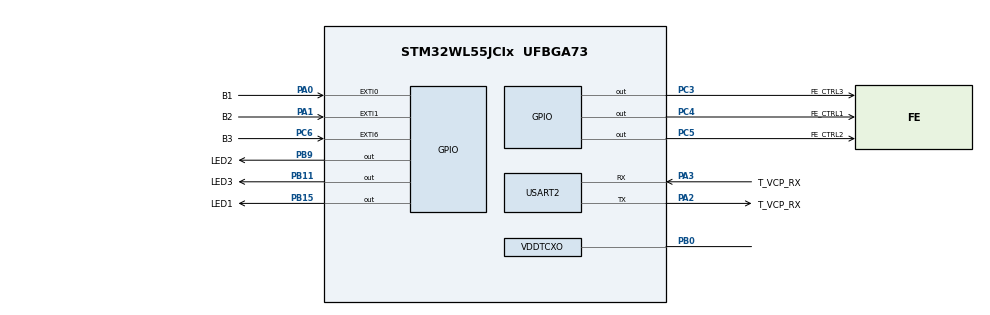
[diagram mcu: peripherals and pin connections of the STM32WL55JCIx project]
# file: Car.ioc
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FREERTOS.Queues01=TransmitQueue,32,uint16_t,0,Dynamic,NULL,NULL
FREERTOS.Tasks01=defaultTask,24,128,StartDefaultTask,Default,NULL,Dynamic,NULL,NULL;TransmitTask,8,128,StartTransmitTask,Default,NULL,Dynamic,NULL,NULL;ReceiveTask,8,128,StartReceiveTask,Default,NULL,Dynamic,NULL,NULL;GetInputTask,8,128,StartGetInputTask,Default,NULL,Dynamic,NULL,NULL
FREERTOS.configUSE_NEWLIB_REENTRANT=1
Mcu.Family=STM32WL
Mcu.Name=STM32WL55JCIx
Mcu.Package=UFBGA73
NVIC.EXTI0_IRQn=true\:5\:0\:false\:false\:true\:true\:true\:true\:true
NVIC.EXTI1_IRQn=true\:5\:0\:false\:false\:true\:true\:true\:true\:true
NVIC.EXTI9_5_IRQn=true\:5\:0\:false\:false\:true\:true\:true\:true\:true
NVIC.PriorityGroup=NVIC_PRIORITYGROUP_4
NVIC.SUBGHZ_Radio_IRQn=true\:5\:0\:false\:false\:true\:true\:true\:true\:true
NVIC.TIM2_IRQn=true\:15\:0\:false\:false\:true\:false\:false\:true\:true
NVIC.TimeBase=TIM2_IRQn
NVIC.TimeBaseIP=TIM2
NVIC.USART2_IRQn=true\:5\:0\:false\:false\:true\:true\:true\:true\:true
OSC_IN.Mode=HSE-TCXO
OSC_IN.Signal=RCC_OSC_IN
PA0.GPIO_Label=B1
PA0.GPIO_ModeDefaultEXTI=GPIO_MODE_IT_RISING
PA0.GPIO_PuPd=GPIO_PULLUP
PA0.Signal=GPXTI0
PA1.GPIO_Label=B2
PA1.GPIO_ModeDefaultEXTI=GPIO_MODE_IT_FALLING
PA1.GPIO_PuPd=GPIO_PULLUP
PA1.Signal=GPXTI1
PA13.Mode=Serial_Wire
PA13.Signal=DEBUG_JTMS-SWDIO
PA14.Mode=Serial_Wire
PA14.Signal=DEBUG_JTCK-SWCLK
PA2.GPIO_Label=T_VCP_RX
PA2.Mode=Asynchronous
PA2.Signal=USART2_TX
PA3.GPIO_Label=T_VCP_RX
PA3.Mode=Asynchronous
PA3.Signal=USART2_RX
PB0-VDD_TCXO.Mode=HSE-TCXO
PB0-VDD_TCXO.Signal=VDDTCXO
PB11.GPIO_Label=LED3
PB11.GPIO_Speed=GPIO_SPEED_FREQ_HIGH
PB11.Signal=GPIO_Output
PB15.GPIO_Label=LED1
PB15.GPIO_Speed=GPIO_SPEED_FREQ_HIGH
PB15.Signal=GPIO_Output
PB9.GPIO_FM9=__NULL
PB9.GPIO_Label=LED2
PB9.GPIO_Speed=GPIO_SPEED_FREQ_HIGH
PB9.Signal=GPIO_Output
PC14-OSC32_IN.Mode=LSE-External-Oscillator
PC14-OSC32_IN.Signal=RCC_OSC32_IN
PC15-OSC32_OUT.Mode=LSE-External-Oscillator
PC15-OSC32_OUT.Signal=RCC_OSC32_OUT
PC3.GPIO_Label=FE_CTRL3
PC3.GPIO_Speed=GPIO_SPEED_FREQ_VERY_HIGH
PC3.Signal=GPIO_Output
PC4.GPIO_Label=FE_CTRL1
PC4.GPIO_Speed=GPIO_SPEED_FREQ_VERY_HIGH
PC4.Signal=GPIO_Output
PC5.GPIO_Label=FE_CTRL2
PC5.GPIO_Speed=GPIO_SPEED_FREQ_VERY_HIGH
PC5.Signal=GPIO_Output
PC6.GPIO_Label=B3
PC6.GPIO_ModeDefaultEXTI=GPIO_MODE_IT_FALLING
PC6.GPIO_PuPd=GPIO_PULLUP
PC6.Signal=GPXTI6
ProjectManager.HeapSize=0x200
ProjectManager.StackSize=0x400
ProjectManager.TargetToolchain=STM32CubeIDE
RCC.AHBFreq_Value=48000000
RCC.APB1Freq_Value=48000000
RCC.APB1TimFreq_Value=48000000
RCC.APB2Freq_Value=48000000
RCC.APB2TimFreq_Value=48000000
RCC.APB3Freq_Value=48000000
RCC.CortexFreq_Value=48000000
RCC.HCLKFreq_Value=48000000
RCC.HSE_VALUE=32000000
RCC.HSI_VALUE=16000000
RCC.LSE_VALUE=32768
RCC.MSIClockRange=RCC_MSIRANGE_11
RCC.SYSCLKFreq_VALUE=48000000
RCC.VCOOutputFreq_Value=384000000
SUBGHZ.BaudratePrescaler=SUBGHZSPI_BAUDRATEPRESCALER_4
SUBGHZ_PHY.IS_TCXO_SUPPORTED=true
SUBGHZ_PHY.USE_LPM=false
SUBGHZ_PHY.USE_RTC=false
SUBGHZ_PHY.USE_UART=false
USART2.VirtualMode-Asynchronous=VM_ASYNC
VP_ADV_TRACE_VS_ADV_TRACE.Mode=ADV_TRACE_Enabled
VP_FREERTOS_VS_CMSIS_V2.Mode=CMSIS_V2
VP_MISC_VS_MISC.Mode=MISC_Enabled
VP_SUBGHZ_PHY_VS_SubGhzPhy.Mode=SubGhzPhy_Enabled
VP_SUBGHZ_VS_SUBGHZ.Mode=SUBGHZ_Activate
VP_SYS_VS_tim2.Mode=TIM2
VP_TIMER_VS_TIMER.Mode=TIMER_Enabled
VP_TINY_LPM_VS_TINY_LPM.Mode=TINY_LPM_Enabled
board=NUCLEO-WL55JC1

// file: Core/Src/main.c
/* USER CODE BEGIN Header */
/**
  ******************************************************************************
  * @file           : main.c
  * @brief          : Main program body
  ******************************************************************************
  * @attention
  *
  * Copyright (c) 2023 STMicroelectronics.
  * All rights reserved.
  *
  * This software is licensed under terms that can be found in the LICENSE file
  * in the root directory of this software component.
  * If no LICENSE file comes with this software, it is provided AS-IS.
  *
  ******************************************************************************
  */
/* USER CODE END Header */
#include "main.h"
#include "cmsis_os.h"
//#include "app_subghz_phy.h"

/* USER CODE BEGIN Includes */
#include "subghz_phy_app.h"
#include "sys_app.h"
/* USER CODE END Includes */

/* USER CODE BEGIN PTD */
#define PUTCHAR_PROTOTYPE int __io_putchar(int ch)
/* USER CODE END PTD */

SUBGHZ_HandleTypeDef hsubghz;

UART_HandleTypeDef huart2;

/* Definitions for defaultTask */
osThreadId_t defaultTaskHandle;
const osThreadAttr_t defaultTask_attributes = {
  .name = "defaultTask",
  .priority = (osPriority_t) osPriorityNormal,
  .stack_size = 128 * 4
};
/* Definitions for TransmitTask */
osThreadId_t TransmitTaskHandle;
const osThreadAttr_t TransmitTask_attributes = {
  .name = "TransmitTask",
  .priority = (osPriority_t) osPriorityLow,
  .stack_size = 128 * 4
};
/* Definitions for ReceiveTask */
osThreadId_t ReceiveTaskHandle;
const osThreadAttr_t ReceiveTask_attributes = {
  .name = "ReceiveTask",
  .priority = (osPriority_t) osPriorityLow,
  .stack_size = 128 * 4
};
/* Definitions for GetInputTask */
osThreadId_t GetInputTaskHandle;
const osThreadAttr_t GetInputTask_attributes = {
  .name = "GetInputTask",
  .priority = (osPriority_t) osPriorityLow,
  .stack_size = 128 * 4
};
/* Definitions for TransmitQueue */
osMessageQueueId_t TransmitQueueHandle;
const osMessageQueueAttr_t TransmitQueue_attributes = {
  .name = "TransmitQueue"
};
/* USER CODE BEGIN PV */
char* new_message;
/* USER CODE END PV */

void SystemClock_Config(void);
static void MX_GPIO_Init(void);
static void MX_USART2_UART_Init(void);
void StartDefaultTask(void *argument);
void StartTransmitTask(void *argument);
void StartReceiveTask(void *argument);
void StartGetInputTask(void *argument);

int main(void)
{

  /* MCU Configuration--------------------------------------------------------*/

  /* Reset of all peripherals, Initializes the Flash interface and the Systick. */
  HAL_Init();

  /* Configure the system clock */
  SystemClock_Config();

  /* Initialize all configured peripherals */
  MX_GPIO_Init();
  MX_USART2_UART_Init();

  /* Init scheduler */
  osKernelInitialize();

  /* Create the queue(s) */
  /* creation of TransmitQueue */
  TransmitQueueHandle = osMessageQueueNew (32, sizeof(uint16_t), &TransmitQueue_attributes);

  /* Create the thread(s) */
  /* creation of defaultTask */
  defaultTaskHandle = osThreadNew(StartDefaultTask, NULL, &defaultTask_attributes);

  /* creation of TransmitTask */
  TransmitTaskHandle = osThreadNew(StartTransmitTask, NULL, &TransmitTask_attributes);

  /* creation of ReceiveTask */
  ReceiveTaskHandle = osThreadNew(StartReceiveTask, NULL, &ReceiveTask_attributes);

  /* creation of GetInputTask */
  GetInputTaskHandle = osThreadNew(StartGetInputTask, NULL, &GetInputTask_attributes);

  /* Start scheduler */
  osKernelStart();

  /* We should never get here as control is now taken by the scheduler */
  /* Infinite loop */
  while (1)
  {

  }
}

void SystemClock_Config(void)
{
  RCC_OscInitTypeDef RCC_OscInitStruct = {0};
  RCC_ClkInitTypeDef RCC_ClkInitStruct = {0};

  /** Configure LSE Drive Capability
  */
  HAL_PWR_EnableBkUpAccess();
  __HAL_RCC_LSEDRIVE_CONFIG(RCC_LSEDRIVE_LOW);

  /** Configure the main internal regulator output voltage
  */
  __HAL_PWR_VOLTAGESCALING_CONFIG(PWR_REGULATOR_VOLTAGE_SCALE1);

  /** Initializes the CPU, AHB and APB buses clocks
  */
  RCC_OscInitStruct.OscillatorType = RCC_OSCILLATORTYPE_LSE|RCC_OSCILLATORTYPE_MSI;
  RCC_OscInitStruct.LSEState = RCC_LSE_ON;
  RCC_OscInitStruct.MSIState = RCC_MSI_ON;
  RCC_OscInitStruct.MSICalibrationValue = RCC_MSICALIBRATION_DEFAULT;
  RCC_OscInitStruct.MSIClockRange = RCC_MSIRANGE_11;
  RCC_OscInitStruct.PLL.PLLState = RCC_PLL_NONE;
  if (HAL_RCC_OscConfig(&RCC_OscInitStruct) != HAL_OK)
  {
    Error_Handler();
  }

  /** Configure the SYSCLKSource, HCLK, PCLK1 and PCLK2 clocks dividers
  */
  RCC_ClkInitStruct.ClockType = RCC_CLOCKTYPE_HCLK3|RCC_CLOCKTYPE_HCLK
                              |RCC_CLOCKTYPE_SYSCLK|RCC_CLOCKTYPE_PCLK1
                              |RCC_CLOCKTYPE_PCLK2;
  RCC_ClkInitStruct.SYSCLKSource = RCC_SYSCLKSOURCE_MSI;
  RCC_ClkInitStruct.AHBCLKDivider = RCC_SYSCLK_DIV1;
  RCC_ClkInitStruct.APB1CLKDivider = RCC_HCLK_DIV1;
  RCC_ClkInitStruct.APB2CLKDivider = RCC_HCLK_DIV1;
  RCC_ClkInitStruct.AHBCLK3Divider = RCC_SYSCLK_DIV1;

  if (HAL_RCC_ClockConfig(&RCC_ClkInitStruct, FLASH_LATENCY_2) != HAL_OK)
  {
    Error_Handler();
  }
}

void MX_SUBGHZ_Init(void)
{

  hsubghz.Init.BaudratePrescaler = SUBGHZSPI_BAUDRATEPRESCALER_4;
  if (HAL_SUBGHZ_Init(&hsubghz) != HAL_OK)
  {
    Error_Handler();
  }

}

static void MX_USART2_UART_Init(void)
{

  huart2.Instance = USART2;
  huart2.Init.BaudRate = 115200;
  huart2.Init.WordLength = UART_WORDLENGTH_8B;
  huart2.Init.StopBits = UART_STOPBITS_1;
  huart2.Init.Parity = UART_PARITY_NONE;
  huart2.Init.Mode = UART_MODE_TX_RX;
  huart2.Init.HwFlowCtl = UART_HWCONTROL_NONE;
  huart2.Init.OverSampling = UART_OVERSAMPLING_16;
  huart2.Init.OneBitSampling = UART_ONE_BIT_SAMPLE_DISABLE;
  huart2.Init.ClockPrescaler = UART_PRESCALER_DIV1;
  huart2.AdvancedInit.AdvFeatureInit = UART_ADVFEATURE_NO_INIT;
  if (HAL_UART_Init(&huart2) != HAL_OK)
  {
    Error_Handler();
  }
  if (HAL_UARTEx_SetTxFifoThreshold(&huart2, UART_TXFIFO_THRESHOLD_1_8) != HAL_OK)
  {
    Error_Handler();
  }
  if (HAL_UARTEx_SetRxFifoThreshold(&huart2, UART_RXFIFO_THRESHOLD_1_8) != HAL_OK)
  {
    Error_Handler();
  }
  if (HAL_UARTEx_DisableFifoMode(&huart2) != HAL_OK)
  {
    Error_Handler();
  }

}

static void MX_GPIO_Init(void)
{
  GPIO_InitTypeDef GPIO_InitStruct = {0};

  /* GPIO Ports Clock Enable */
  __HAL_RCC_GPIOA_CLK_ENABLE();
  __HAL_RCC_GPIOB_CLK_ENABLE();
  __HAL_RCC_GPIOC_CLK_ENABLE();

  /*Configure GPIO pin Output Level */
  HAL_GPIO_WritePin(GPIOB, LED1_Pin|LED2_Pin|LED3_Pin, GPIO_PIN_RESET);

  /*Configure GPIO pin Output Level */
  HAL_GPIO_WritePin(GPIOC, FE_CTRL3_Pin|FE_CTRL2_Pin|FE_CTRL1_Pin, GPIO_PIN_RESET);

  /*Configure GPIO pins : LED1_Pin LED2_Pin LED3_Pin */
  GPIO_InitStruct.Pin = LED1_Pin|LED2_Pin|LED3_Pin;
  GPIO_InitStruct.Mode = GPIO_MODE_OUTPUT_PP;
  GPIO_InitStruct.Pull = GPIO_NOPULL;
  GPIO_InitStruct.Speed = GPIO_SPEED_FREQ_HIGH;
  HAL_GPIO_Init(GPIOB, &GPIO_InitStruct);

  /*Configure GPIO pins : FE_CTRL3_Pin FE_CTRL2_Pin FE_CTRL1_Pin */
  GPIO_InitStruct.Pin = FE_CTRL3_Pin|FE_CTRL2_Pin|FE_CTRL1_Pin;
  GPIO_InitStruct.Mode = GPIO_MODE_OUTPUT_PP;
  GPIO_InitStruct.Pull = GPIO_NOPULL;
  GPIO_InitStruct.Speed = GPIO_SPEED_FREQ_VERY_HIGH;
  HAL_GPIO_Init(GPIOC, &GPIO_InitStruct);

  /*Configure GPIO pin : B1_Pin */
  GPIO_InitStruct.Pin = B1_Pin;
  GPIO_InitStruct.Mode = GPIO_MODE_IT_RISING;
  GPIO_InitStruct.Pull = GPIO_PULLUP;
  HAL_GPIO_Init(B1_GPIO_Port, &GPIO_InitStruct);

  /*Configure GPIO pin : B3_Pin */
  GPIO_InitStruct.Pin = B3_Pin;
  GPIO_InitStruct.Mode = GPIO_MODE_IT_FALLING;
  GPIO_InitStruct.Pull = GPIO_PULLUP;
  HAL_GPIO_Init(B3_GPIO_Port, &GPIO_InitStruct);

  /*Configure GPIO pin : B2_Pin */
  GPIO_InitStruct.Pin = B2_Pin;
  GPIO_InitStruct.Mode = GPIO_MODE_IT_FALLING;
  GPIO_InitStruct.Pull = GPIO_PULLUP;
  HAL_GPIO_Init(B2_GPIO_Port, &GPIO_InitStruct);

  /* EXTI interrupt init*/
  HAL_NVIC_SetPriority(EXTI0_IRQn, 5, 0);
  HAL_NVIC_EnableIRQ(EXTI0_IRQn);

  HAL_NVIC_SetPriority(EXTI1_IRQn, 5, 0);
  HAL_NVIC_EnableIRQ(EXTI1_IRQn);

  HAL_NVIC_SetPriority(EXTI9_5_IRQn, 5, 0);
  HAL_NVIC_EnableIRQ(EXTI9_5_IRQn);

}

/* USER CODE BEGIN 4 */
void MX_SubGHz_Phy_Init(void)
{
  /* USER CODE BEGIN MX_SubGHz_Phy_Init_1 */

  /* USER CODE END MX_SubGHz_Phy_Init_1 */
  SystemApp_Init();
  /* USER CODE BEGIN MX_SubGHz_Phy_Init_1_1 */

  /* USER CODE END MX_SubGHz_Phy_Init_1_1 */
  SubghzApp_Init();
  /* USER CODE BEGIN MX_SubGHz_Phy_Init_2 */

  /* USER CODE END MX_SubGHz_Phy_Init_2 */
}

/**
  * @brief  Retargets the C library printf function to the USART.
  * @param  None
  * @retval None
  */
PUTCHAR_PROTOTYPE
{
  /* Place your implementation of fputc here */
  /* e.g. write a character to the USART1 and Loop until the end of transmission */
  HAL_UART_Transmit(&huart2, (uint8_t *)&ch, 1, 0xFFFF);

  return ch;
}

void HAL_GPIO_EXTI_Callback(uint16_t GPIO_Pin)
	{
	// All three buttons generate GPIO  interrupts
	switch(GPIO_Pin)
		{
		case B1_Pin:
			HAL_GPIO_WritePin(LED1_GPIO_Port, LED1_Pin, GPIO_PIN_SET); /* LED_BLUE */
			new_message = "1";
			osMessageQueuePut(TransmitQueueHandle, &new_message, 100, 0U);
			//printf("Adding: %s\n\r",new_message);
			break;
		case B2_Pin:
			HAL_GPIO_WritePin(LED1_GPIO_Port, LED1_Pin, GPIO_PIN_RESET); /* LED_BLUE */
			new_message = "0";
			osMessageQueuePut(TransmitQueueHandle, &new_message, 100, 0U);
			//printf("Adding: %s\n\r",new_message);
			break;
		}

	}
/* USER CODE END 4 */

void StartDefaultTask(void *argument)
{
  /* init code for SubGHz_Phy */
  MX_SubGHz_Phy_Init();
  /* USER CODE BEGIN 5 */
  /* Infinite loop */
  for(;;)
  {
	//Radio.Send("Hello");
    osDelay(1);
  }
  /* USER CODE END 5 */
}

void StartTransmitTask(void *argument)
{
  /* USER CODE BEGIN StartTransmitTask */
	char* message;
	uint8_t msg_prio =100;
  /* Infinite loop */
  for(;;)
  {
	  if (osMessageQueueGet(TransmitQueueHandle, &message, &msg_prio, (uint32_t) 1) == osOK)
	  {
		  //printf("Transmitting: %s\n\r",message);
		  Transmit(message);
	  }
    osDelay(1);
  }
  /* USER CODE END StartTransmitTask */
}

void StartReceiveTask(void *argument)
{
  /* USER CODE BEGIN StartReceiveTask */
  /* Infinite loop */
  for(;;)
  {
	Handler();
    osDelay(1);
  }
  /* USER CODE END StartReceiveTask */
}

void StartGetInputTask(void *argument)
{
  /* USER CODE BEGIN StartGetInputTask */
  /* Infinite loop */
  for(;;)
  {

	  osDelay(100);
  }
  /* USER CODE END StartGetInputTask */
}

void HAL_TIM_PeriodElapsedCallback(TIM_HandleTypeDef *htim)
{
  if (htim->Instance == TIM2) {
    HAL_IncTick();
  }
}

void Error_Handler(void)
{
  __disable_irq();
  while (1)
  {
  }
}
